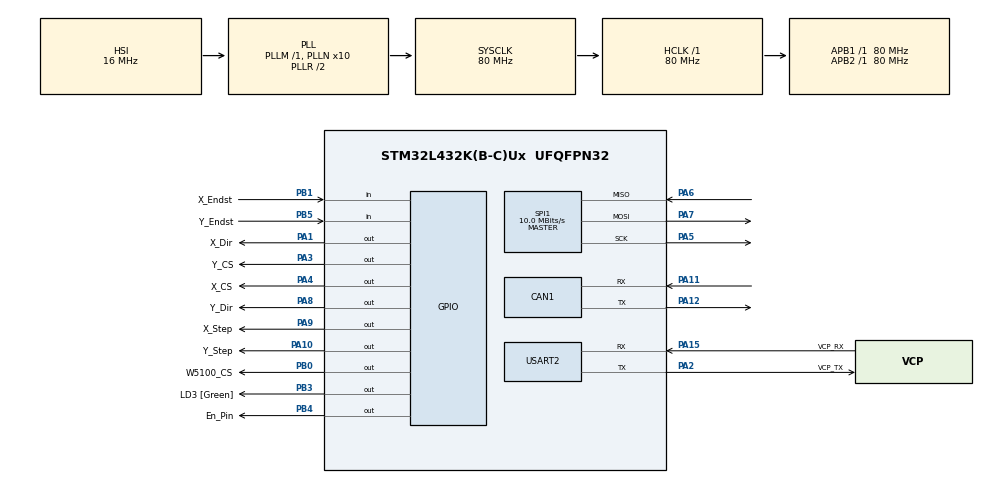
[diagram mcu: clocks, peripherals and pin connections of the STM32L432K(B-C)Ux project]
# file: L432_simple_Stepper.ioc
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CAN1.BS1=CAN_BS1_4TQ
CAN1.BS2=CAN_BS2_4TQ
CAN1.CalculateTimeQuantum=200.0
Mcu.Family=STM32L4
Mcu.Name=STM32L432K(B-C)Ux
Mcu.Package=UFQFPN32
NVIC.PriorityGroup=NVIC_PRIORITYGROUP_4
NVIC.TIM1_UP_TIM16_IRQn=true\:0\:0\:false\:false\:true\:true\:true
NVIC.TIM7_IRQn=true\:0\:0\:false\:false\:true\:true\:true
PA0.GPIO_Label=MCO [High speed clock in]
PA0.Signal=RCC_CK_IN
PA1.GPIO_Label=X_Dir
PA1.Signal=GPIO_Output
PA10.GPIO_Label=Y_Step
PA10.GPIO_Speed=GPIO_SPEED_FREQ_HIGH
PA10.Signal=GPIO_Output
PA11.Mode=Master
PA11.Signal=CAN1_RX
PA12.Mode=Master
PA12.Signal=CAN1_TX
PA13\ (JTMS-SWDIO).GPIO_Label=SWDIO
PA13\ (JTMS-SWDIO).Mode=Serial_Wire
PA13\ (JTMS-SWDIO).Signal=SYS_JTMS-SWDIO
PA14\ (JTCK-SWCLK).Mode=Serial_Wire
PA14\ (JTCK-SWCLK).Signal=SYS_JTCK-SWCLK
PA15\ (JTDI).GPIO_Label=VCP_RX
PA15\ (JTDI).Mode=Asynchronous
PA15\ (JTDI).Signal=USART2_RX
PA2.GPIO_Label=VCP_TX
PA2.Mode=Asynchronous
PA2.Signal=USART2_TX
PA3.GPIO_Label=Y_CS
PA3.Signal=GPIO_Output
PA4.GPIO_Label=X_CS
PA4.Signal=GPIO_Output
PA5.Mode=Full_Duplex_Master
PA5.Signal=SPI1_SCK
PA6.Mode=Full_Duplex_Master
PA6.Signal=SPI1_MISO
PA7.Mode=Full_Duplex_Master
PA7.Signal=SPI1_MOSI
PA8.GPIO_Label=Y_Dir
PA8.Signal=GPIO_Output
PA9.GPIO_Label=X_Step
PA9.GPIO_Speed=GPIO_SPEED_FREQ_HIGH
PA9.Signal=GPIO_Output
PB0.GPIO_Label=W5100_CS
PB0.Signal=GPIO_Output
PB1.GPIO_Label=X_Endst
PB1.GPIO_PuPd=GPIO_PULLUP
PB1.Signal=GPIO_Input
PB3\ (JTDO-TRACESWO).GPIO_Label=LD3 [Green]
PB3\ (JTDO-TRACESWO).Signal=GPIO_Output
PB4\ (NJTRST).GPIO_Label=En_Pin
PB4\ (NJTRST).PinState=GPIO_PIN_SET
PB4\ (NJTRST).Signal=GPIO_Output
PB5.GPIO_Label=Y_Endst
PB5.GPIO_PuPd=GPIO_PULLUP
PB5.Signal=GPIO_Input
PC14-OSC32_IN\ (PC14).Mode=LSE-External-Oscillator
PC14-OSC32_IN\ (PC14).Signal=RCC_OSC32_IN
PC15-OSC32_OUT\ (PC15).Mode=LSE-External-Oscillator
PC15-OSC32_OUT\ (PC15).Signal=RCC_OSC32_OUT
ProjectManager.HeapSize=0x200
ProjectManager.StackSize=0x400
ProjectManager.TargetToolchain=STM32CubeIDE
RCC.ADCFreq_Value=64000000
RCC.AHBFreq_Value=80000000
RCC.APB1Freq_Value=80000000
RCC.APB1TimFreq_Value=80000000
RCC.APB2Freq_Value=80000000
RCC.APB2TimFreq_Value=80000000
RCC.CortexFreq_Value=80000000
RCC.HCLKFreq_Value=80000000
RCC.HSE_VALUE=8000000
RCC.HSI16_VALUE=16000000
RCC.HSI48_VALUE=48000000
RCC.HSI_VALUE=16000000
RCC.MSI_VALUE=4000000
RCC.PLLMUL=RCC_PLLMUL_4
RCC.PLLN=10
RCC.PLLSourceVirtual=RCC_PLLSOURCE_HSI
RCC.SYSCLKFreq_VALUE=80000000
RCC.SYSCLKSource=RCC_SYSCLKSOURCE_PLLCLK
RCC.USBFreq_Value=64000000
RCC.VCOOutputFreq_Value=160000000
SPI1.BaudRatePrescaler=SPI_BAUDRATEPRESCALER_8
SPI1.CalculateBaudRate=10.0 MBits/s
SPI1.DataSize=SPI_DATASIZE_8BIT
SPI1.Direction=SPI_DIRECTION_2LINES
SPI1.Mode=SPI_MODE_MASTER
SPI1.VirtualType=VM_MASTER
TIM1.Period=1
TIM1.Prescaler=200
TIM7.Period=10000
TIM7.Prescaler=8000
USART2.VirtualMode-Asynchronous=VM_ASYNC
VP_TIM1_VS_ClockSourceINT.Mode=Internal
VP_TIM7_VS_ClockSourceINT.Mode=Enable_Timer
board=NUCLEO-L432KC

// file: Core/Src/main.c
/* USER CODE BEGIN Header */
/**
  ******************************************************************************
  * @file           : main.c
  * @brief          : Main program body
  ******************************************************************************
  * @attention
  *
  * <h2><center>&copy; Copyright (c) 2020 STMicroelectronics.
  * All rights reserved.</center></h2>
  *
  * This software component is licensed by ST under BSD 3-Clause license,
  * the "License"; You may not use this file except in compliance with the
  * License. You may obtain a copy of the License at:
  *                        opensource.org/licenses/BSD-3-Clause
  *
  ******************************************************************************
  */
/* USER CODE END Header */

#include "main.h"

/* USER CODE BEGIN Includes */
#include "stdio.h"
#include "Utils.h"
#include "pin.h"
#include "W5X00_functions.h"
#include "GCode.h"
#include "SMotionplanner.h"
/* USER CODE END Includes */

/* USER CODE BEGIN PD */

#define DEBUG 1

/* USER CODE END PD */

CAN_HandleTypeDef hcan1;

SPI_HandleTypeDef hspi1;

TIM_HandleTypeDef htim1;
TIM_HandleTypeDef htim7;

UART_HandleTypeDef huart2;

/* USER CODE BEGIN PV */

uint8_t ip_adress[] = {192, 168, 0, 187};

/* USER CODE END PV */

void SystemClock_Config(void);
static void MX_GPIO_Init(void);
static void MX_USART2_UART_Init(void);
static void MX_SPI1_Init(void);
static void MX_TIM1_Init(void);
static void MX_CAN1_Init(void);
static void MX_TIM7_Init(void);

int main(void)
{

  /* MCU Configuration--------------------------------------------------------*/

  /* Reset of all peripherals, Initializes the Flash interface and the Systick. */
  HAL_Init();

  /* Configure the system clock */
  SystemClock_Config();

  /* Initialize all configured peripherals */
  MX_GPIO_Init();
  MX_USART2_UART_Init();
  MX_SPI1_Init();
  MX_TIM1_Init();
  MX_CAN1_Init();
  MX_TIM7_Init();
  /* USER CODE BEGIN 2 */

  DWT_Delay_Init();

  setW5X00Spi(&hspi1, W5100_CS_GPIO_Port, W5100_CS_Pin);

//  pin_t W5100_ResetPin = { 	  .Port = W5100_Reset_GPIO_Port,
//		  	  	  	  	  	  .num = W5100_Reset_Pin
//  };

//  W5X00_init(ip_adress, W5100_ResetPin);
  W5X00_init(ip_adress);

  initDefaultPins(2);

//  HAL_TIM_Base_Start_IT(&htim1);
  HAL_TIM_Base_Start_IT(&htim7);

//  uint8_t testcommand[] = "G0 X100 Y230";
//  parsePara(parseString(testcommand), 1);

  /* USER CODE END 2 */

  /* Infinite loop */
  while (1)
  {

    /* USER CODE BEGIN 3 */
	  W5X00_open_wait(0);
	  HAL_Delay(200);

	  GPIO_PinState temppinstate1 = HAL_GPIO_ReadPin(X_Endst_GPIO_Port, X_Endst_Pin);
	  GPIO_PinState temppinstate2 = HAL_GPIO_ReadPin(Y_Endst_GPIO_Port, Y_Endst_Pin);

	  if(temppinstate1 == 0 || temppinstate2 == 0) {
		  HAL_GPIO_WritePin(LD3_GPIO_Port, LD3_Pin, 1);
		  HAL_Delay(500);
		  HAL_GPIO_WritePin(LD3_GPIO_Port, LD3_Pin, 0);
		  HAL_Delay(500);
	  }
  }
  /* USER CODE END 3 */
}

void SystemClock_Config(void)
{
  RCC_OscInitTypeDef RCC_OscInitStruct = {0};
  RCC_ClkInitTypeDef RCC_ClkInitStruct = {0};
  RCC_PeriphCLKInitTypeDef PeriphClkInit = {0};

  /** Initializes the CPU, AHB and APB busses clocks
  */
  RCC_OscInitStruct.OscillatorType = RCC_OSCILLATORTYPE_HSI;
  RCC_OscInitStruct.HSIState = RCC_HSI_ON;
  RCC_OscInitStruct.HSICalibrationValue = RCC_HSICALIBRATION_DEFAULT;
  RCC_OscInitStruct.PLL.PLLState = RCC_PLL_ON;
  RCC_OscInitStruct.PLL.PLLSource = RCC_PLLSOURCE_HSI;
  RCC_OscInitStruct.PLL.PLLM = 1;
  RCC_OscInitStruct.PLL.PLLN = 10;
  RCC_OscInitStruct.PLL.PLLP = RCC_PLLP_DIV7;
  RCC_OscInitStruct.PLL.PLLQ = RCC_PLLQ_DIV2;
  RCC_OscInitStruct.PLL.PLLR = RCC_PLLR_DIV2;
  if (HAL_RCC_OscConfig(&RCC_OscInitStruct) != HAL_OK)
  {
    Error_Handler();
  }
  /** Initializes the CPU, AHB and APB busses clocks
  */
  RCC_ClkInitStruct.ClockType = RCC_CLOCKTYPE_HCLK|RCC_CLOCKTYPE_SYSCLK
                              |RCC_CLOCKTYPE_PCLK1|RCC_CLOCKTYPE_PCLK2;
  RCC_ClkInitStruct.SYSCLKSource = RCC_SYSCLKSOURCE_PLLCLK;
  RCC_ClkInitStruct.AHBCLKDivider = RCC_SYSCLK_DIV1;
  RCC_ClkInitStruct.APB1CLKDivider = RCC_HCLK_DIV1;
  RCC_ClkInitStruct.APB2CLKDivider = RCC_HCLK_DIV1;

  if (HAL_RCC_ClockConfig(&RCC_ClkInitStruct, FLASH_LATENCY_4) != HAL_OK)
  {
    Error_Handler();
  }
  PeriphClkInit.PeriphClockSelection = RCC_PERIPHCLK_USART2;
  PeriphClkInit.Usart2ClockSelection = RCC_USART2CLKSOURCE_PCLK1;
  if (HAL_RCCEx_PeriphCLKConfig(&PeriphClkInit) != HAL_OK)
  {
    Error_Handler();
  }
  /** Configure the main internal regulator output voltage
  */
  if (HAL_PWREx_ControlVoltageScaling(PWR_REGULATOR_VOLTAGE_SCALE1) != HAL_OK)
  {
    Error_Handler();
  }
}

static void MX_CAN1_Init(void)
{

  hcan1.Instance = CAN1;
  hcan1.Init.Prescaler = 16;
  hcan1.Init.Mode = CAN_MODE_NORMAL;
  hcan1.Init.SyncJumpWidth = CAN_SJW_1TQ;
  hcan1.Init.TimeSeg1 = CAN_BS1_4TQ;
  hcan1.Init.TimeSeg2 = CAN_BS2_4TQ;
  hcan1.Init.TimeTriggeredMode = DISABLE;
  hcan1.Init.AutoBusOff = DISABLE;
  hcan1.Init.AutoWakeUp = DISABLE;
  hcan1.Init.AutoRetransmission = DISABLE;
  hcan1.Init.ReceiveFifoLocked = DISABLE;
  hcan1.Init.TransmitFifoPriority = DISABLE;
  if (HAL_CAN_Init(&hcan1) != HAL_OK)
  {
    Error_Handler();
  }

}

static void MX_SPI1_Init(void)
{

  /* SPI1 parameter configuration*/
  hspi1.Instance = SPI1;
  hspi1.Init.Mode = SPI_MODE_MASTER;
  hspi1.Init.Direction = SPI_DIRECTION_2LINES;
  hspi1.Init.DataSize = SPI_DATASIZE_8BIT;
  hspi1.Init.CLKPolarity = SPI_POLARITY_LOW;
  hspi1.Init.CLKPhase = SPI_PHASE_1EDGE;
  hspi1.Init.NSS = SPI_NSS_SOFT;
  hspi1.Init.BaudRatePrescaler = SPI_BAUDRATEPRESCALER_8;
  hspi1.Init.FirstBit = SPI_FIRSTBIT_MSB;
  hspi1.Init.TIMode = SPI_TIMODE_DISABLE;
  hspi1.Init.CRCCalculation = SPI_CRCCALCULATION_DISABLE;
  hspi1.Init.CRCPolynomial = 7;
  hspi1.Init.CRCLength = SPI_CRC_LENGTH_DATASIZE;
  hspi1.Init.NSSPMode = SPI_NSS_PULSE_ENABLE;
  if (HAL_SPI_Init(&hspi1) != HAL_OK)
  {
    Error_Handler();
  }

}

static void MX_TIM1_Init(void)
{

  TIM_ClockConfigTypeDef sClockSourceConfig = {0};
  TIM_MasterConfigTypeDef sMasterConfig = {0};

  htim1.Instance = TIM1;
  htim1.Init.Prescaler = 200;
  htim1.Init.CounterMode = TIM_COUNTERMODE_UP;
  htim1.Init.Period = 1;
  htim1.Init.ClockDivision = TIM_CLOCKDIVISION_DIV1;
  htim1.Init.RepetitionCounter = 0;
  htim1.Init.AutoReloadPreload = TIM_AUTORELOAD_PRELOAD_DISABLE;
  if (HAL_TIM_Base_Init(&htim1) != HAL_OK)
  {
    Error_Handler();
  }
  sClockSourceConfig.ClockSource = TIM_CLOCKSOURCE_INTERNAL;
  if (HAL_TIM_ConfigClockSource(&htim1, &sClockSourceConfig) != HAL_OK)
  {
    Error_Handler();
  }
  sMasterConfig.MasterOutputTrigger = TIM_TRGO_RESET;
  sMasterConfig.MasterOutputTrigger2 = TIM_TRGO2_RESET;
  sMasterConfig.MasterSlaveMode = TIM_MASTERSLAVEMODE_DISABLE;
  if (HAL_TIMEx_MasterConfigSynchronization(&htim1, &sMasterConfig) != HAL_OK)
  {
    Error_Handler();
  }

}

static void MX_TIM7_Init(void)
{

  TIM_MasterConfigTypeDef sMasterConfig = {0};

  htim7.Instance = TIM7;
  htim7.Init.Prescaler = 8000;
  htim7.Init.CounterMode = TIM_COUNTERMODE_UP;
  htim7.Init.Period = 10000;
  htim7.Init.AutoReloadPreload = TIM_AUTORELOAD_PRELOAD_DISABLE;
  if (HAL_TIM_Base_Init(&htim7) != HAL_OK)
  {
    Error_Handler();
  }
  sMasterConfig.MasterOutputTrigger = TIM_TRGO_RESET;
  sMasterConfig.MasterSlaveMode = TIM_MASTERSLAVEMODE_DISABLE;
  if (HAL_TIMEx_MasterConfigSynchronization(&htim7, &sMasterConfig) != HAL_OK)
  {
    Error_Handler();
  }

}

static void MX_USART2_UART_Init(void)
{

  huart2.Instance = USART2;
  huart2.Init.BaudRate = 115200;
  huart2.Init.WordLength = UART_WORDLENGTH_8B;
  huart2.Init.StopBits = UART_STOPBITS_1;
  huart2.Init.Parity = UART_PARITY_NONE;
  huart2.Init.Mode = UART_MODE_TX_RX;
  huart2.Init.HwFlowCtl = UART_HWCONTROL_NONE;
  huart2.Init.OverSampling = UART_OVERSAMPLING_16;
  huart2.Init.OneBitSampling = UART_ONE_BIT_SAMPLE_DISABLE;
  huart2.AdvancedInit.AdvFeatureInit = UART_ADVFEATURE_NO_INIT;
  if (HAL_UART_Init(&huart2) != HAL_OK)
  {
    Error_Handler();
  }

}

static void MX_GPIO_Init(void)
{
  GPIO_InitTypeDef GPIO_InitStruct = {0};

  /* GPIO Ports Clock Enable */
  __HAL_RCC_GPIOC_CLK_ENABLE();
  __HAL_RCC_GPIOA_CLK_ENABLE();
  __HAL_RCC_GPIOB_CLK_ENABLE();

  /*Configure GPIO pin Output Level */
  HAL_GPIO_WritePin(GPIOA, X_Dir_Pin|Y_CS_Pin|X_CS_Pin|Y_Dir_Pin
                          |X_Step_Pin|Y_Step_Pin, GPIO_PIN_RESET);

  /*Configure GPIO pin Output Level */
  HAL_GPIO_WritePin(GPIOB, W5100_CS_Pin|LD3_Pin, GPIO_PIN_RESET);

  /*Configure GPIO pin Output Level */
  HAL_GPIO_WritePin(En_Pin_GPIO_Port, En_Pin_Pin, GPIO_PIN_SET);

  /*Configure GPIO pins : X_Dir_Pin Y_CS_Pin X_CS_Pin Y_Dir_Pin */
  GPIO_InitStruct.Pin = X_Dir_Pin|Y_CS_Pin|X_CS_Pin|Y_Dir_Pin;
  GPIO_InitStruct.Mode = GPIO_MODE_OUTPUT_PP;
  GPIO_InitStruct.Pull = GPIO_NOPULL;
  GPIO_InitStruct.Speed = GPIO_SPEED_FREQ_LOW;
  HAL_GPIO_Init(GPIOA, &GPIO_InitStruct);

  /*Configure GPIO pins : W5100_CS_Pin LD3_Pin En_Pin_Pin */
  GPIO_InitStruct.Pin = W5100_CS_Pin|LD3_Pin|En_Pin_Pin;
  GPIO_InitStruct.Mode = GPIO_MODE_OUTPUT_PP;
  GPIO_InitStruct.Pull = GPIO_NOPULL;
  GPIO_InitStruct.Speed = GPIO_SPEED_FREQ_LOW;
  HAL_GPIO_Init(GPIOB, &GPIO_InitStruct);

  /*Configure GPIO pins : X_Endst_Pin Y_Endst_Pin */
  GPIO_InitStruct.Pin = X_Endst_Pin|Y_Endst_Pin;
  GPIO_InitStruct.Mode = GPIO_MODE_INPUT;
  GPIO_InitStruct.Pull = GPIO_PULLUP;
  HAL_GPIO_Init(GPIOB, &GPIO_InitStruct);

  /*Configure GPIO pins : X_Step_Pin Y_Step_Pin */
  GPIO_InitStruct.Pin = X_Step_Pin|Y_Step_Pin;
  GPIO_InitStruct.Mode = GPIO_MODE_OUTPUT_PP;
  GPIO_InitStruct.Pull = GPIO_NOPULL;
  GPIO_InitStruct.Speed = GPIO_SPEED_FREQ_HIGH;
  HAL_GPIO_Init(GPIOA, &GPIO_InitStruct);

}

void Error_Handler(void)
{
}

/************************ (C) COPYRIGHT STMicroelectronics *****END OF FILE****/
